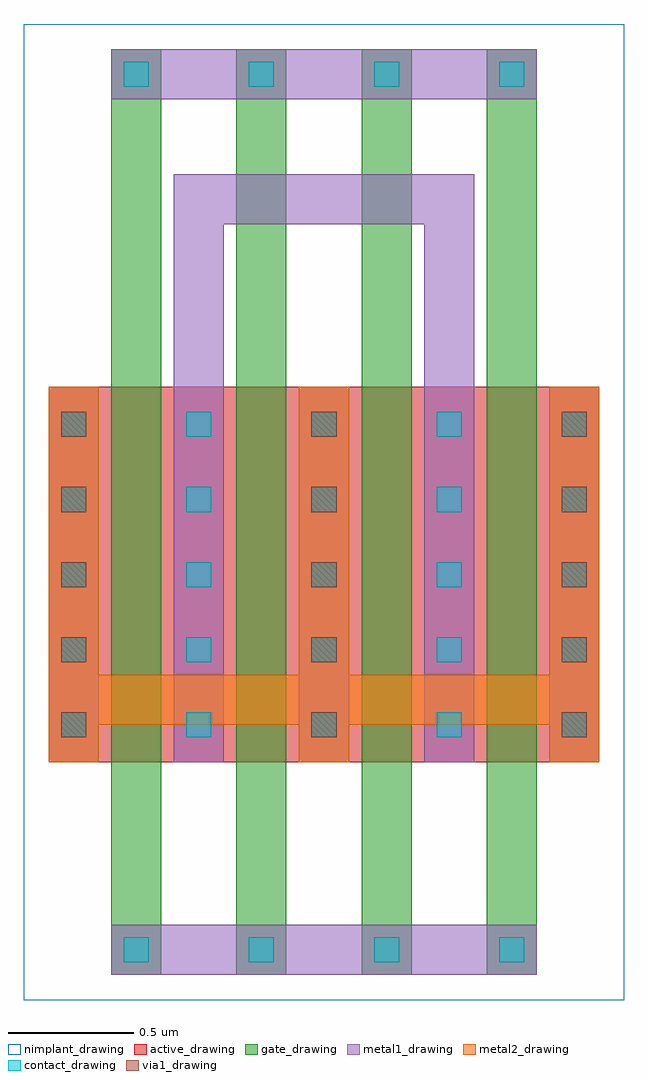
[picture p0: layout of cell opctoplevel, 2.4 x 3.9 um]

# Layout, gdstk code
import gdstk
lib = gdstk.Library(unit=1e-6, precision=1e-09)
def R(c, l, rs):  # rectangles x0, y0, x1, y1
    for r in rs: c.add(gdstk.rectangle(r[:2], r[2:], *l))
def A(c, l, x, y, w, h, nx, ny, dx, dy):  # array of equal rectangles
    R(c, l, [(x+i*dx, y+j*dy, x+i*dx+w, y+j*dy+h) for i in range(nx) for j in range(ny)])
active_drawing = (1, 0)
nimplant_drawing = (5, 0)
gate_drawing = (6, 0)
contact_drawing = (7, 0)
metal1_drawing = (8, 0)
via1_drawing = (9, 0)
metal2_drawing = (10, 0)

opctoplevel = lib.new_cell('opctoplevel')
R(opctoplevel, active_drawing, [(-0.25,0,1.95,1.5)])
R(opctoplevel, nimplant_drawing, [(-0.35,-0.95,2.05,2.95)])
A(opctoplevel, gate_drawing, 0, -0.85, 0.2, 3.7, 4, 1, 0.5, 0)
A(opctoplevel, contact_drawing, 0.05, -0.8, 0.1, 0.1, 4, 2, 0.5, 3.5)
A(opctoplevel, contact_drawing, -0.2, 0.1, 0.1, 0.1, 5, 5, 0.5, 0.3)
A(opctoplevel, metal1_drawing, -0.25, 0, 0.2, 1.5, 5, 1, 0.5, 0)
R(opctoplevel, metal1_drawing, [(0,-0.85,1.7,-0.65), (0.25,1.5,0.45,2.15), (1.25,1.5,1.45,2.15), (0.25,2.15,1.45,2.35), (0,2.65,1.7,2.85)])
A(opctoplevel, via1_drawing, -0.2, 0.1, 0.1, 0.1, 3, 5, 1, 0.3)
A(opctoplevel, metal2_drawing, -0.25, 0, 0.2, 1.5, 3, 1, 1, 0)
R(opctoplevel, metal2_drawing, [(-0.25,0.15,1.95,0.35)])

lib.write_gds('opctoplevel.gds')
